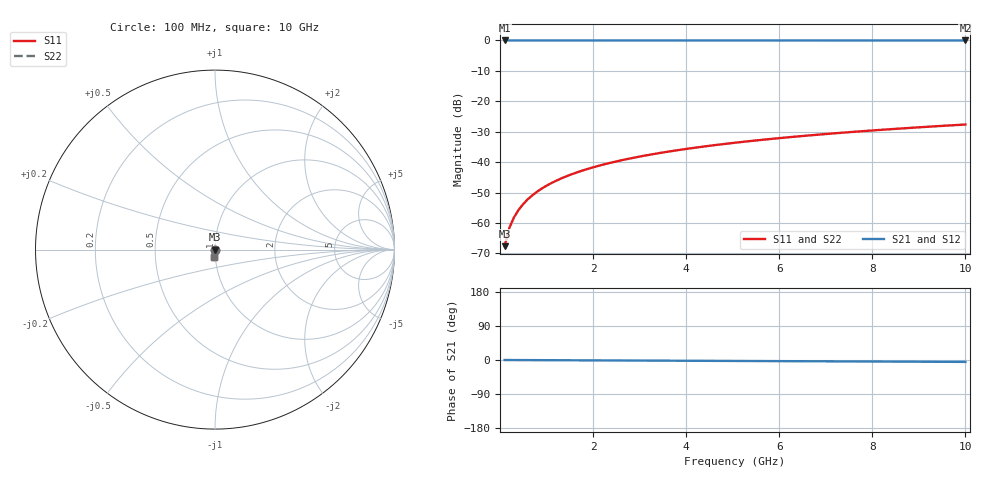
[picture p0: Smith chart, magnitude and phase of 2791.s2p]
# Hz S RI R 50.00
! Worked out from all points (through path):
!   100 points, 100 MHz to 10 GHz, reference 50 ohm
!   highest |S21| = 0.00 dB at 100 MHz (marker M1); lowest = 0.0 dB at 10 GHz (marker M2)
!   lowest |S11| = -67.6 dB at 100 MHz (marker M3), VSWR 1.00, Z = 50 - j0.0409 ohm
!   |S11| at or under -10 dB: start of sweep to end of sweep
!   |S22| runs from -67.6 to -27.6 dB; largest |S21 - S12| = 0
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1e8  7.1e-05 -0.000409  0.9999 -0.000864  0.9999 -0.000864  7.1e-05 -0.000409
2e8  6.98e-05 -0.000818  0.9999 -0.00173  0.9999 -0.00173  6.98e-05 -0.000818
3e8  6.78e-05 -0.00123  0.9999 -0.00259  0.9999 -0.00259  6.78e-05 -0.00123
4e8  6.5e-05 -0.00164  0.9999 -0.00346  0.9999 -0.00346  6.5e-05 -0.00164
5e8  6.15e-05 -0.00205  0.9999 -0.00432  0.9999 -0.00432  6.15e-05 -0.00205
6e8  5.72e-05 -0.00246  0.9999 -0.00519  0.9999 -0.00519  5.72e-05 -0.00246
7e8  5.22e-05 -0.00287  0.9999 -0.00605  0.9999 -0.00605  5.22e-05 -0.00287
8e8  4.65e-05 -0.00328  0.9999 -0.00692  0.9999 -0.00692  4.65e-05 -0.00328
9e8  4e-05 -0.00369  0.9999 -0.00778  0.9999 -0.00778  4e-05 -0.00369
1.1e9  2.49e-05 -0.00451  0.9999 -0.00951  0.9999 -0.00951  2.49e-05 -0.00451
1.4e9  -3.08e-06 -0.00574  0.9998 -0.0121  0.9998 -0.0121  -3.08e-06 -0.00574
1.8e9  -5.05e-05 -0.00738  0.9998 -0.0156  0.9998 -0.0156  -5.05e-05 -0.00738
2.1e9  -9.37e-05 -0.00861  0.9997 -0.0182  0.9997 -0.0182  -9.37e-05 -0.00861
2.5e9  -0.000161 -0.0103  0.9996 -0.0217  0.9996 -0.0217  -0.000161 -0.0103
2.9e9  -0.000241 -0.0119  0.9995 -0.0251  0.9995 -0.0251  -0.000241 -0.0119
3.4e9  -0.000356 -0.014  0.9994 -0.0295  0.9994 -0.0295  -0.000356 -0.014
4.2e9  -0.000579 -0.0173  0.9991 -0.0365  0.9991 -0.0365  -0.000579 -0.0173
5.1e9  -0.000886 -0.021  0.9987 -0.0444  0.9987 -0.0444  -0.000886 -0.021
5.9e9  -0.00121 -0.0243  0.9983 -0.0514  0.9983 -0.0514  -0.00121 -0.0243
6.7e9  -0.00158 -0.0277  0.9978 -0.0584  0.9978 -0.0584  -0.00158 -0.0277
8.4e9  -0.00253 -0.0347  0.9966 -0.0734  0.9966 -0.0734  -0.00253 -0.0347
1e10  -0.00361 -0.0413  0.9951 -0.0876  0.9951 -0.0876  -0.00361 -0.0413
